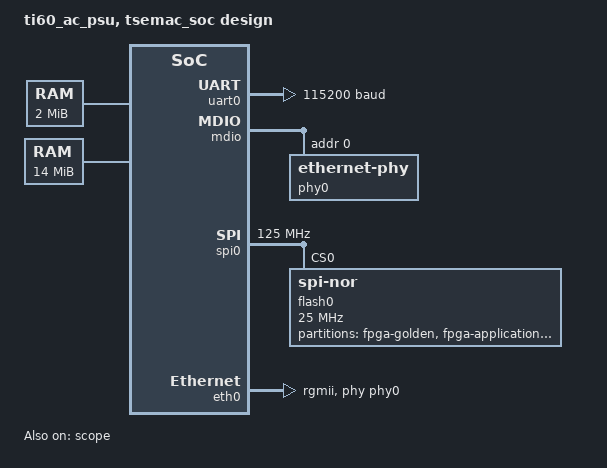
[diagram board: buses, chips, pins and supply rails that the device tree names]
/*
 * The ti60_ac_psu board (Ti60F225) running fpga/tsemac_soc: Efinix's TSEMAC
 * Linux example design ported to the board. One rv32imac hart at 200 MHz, peripherals and
 * machine timer at 125 MHz, 64 MB HyperRAM, TSEMAC behind the scatter-gather DMA on the
 * board's PEF7071 PHY, gigabit only.
 *
 * The memory and flash layouts are ti60_evm_eth's: Zephyr's image region of 2 MB at
 * 0x01000000 and RAM after it to the end of the HyperRAM; the loader (firmware/loader)
 * at flash 0x600000, which tsemac_soc's boot0 starts, boots the newest of two image slots.
 */

/dts-v1/;

#include <efinix/sapphire_soc.dtsi>

/delete-node/ &ram0;

/ {
	model = "ti60_ac_psu, tsemac_soc design";
	compatible = "efinix,ti60-psu-eth";

	chosen {
		zephyr,console = &uart0;
		zephyr,shell-uart = &uart0;
		zephyr,sram = &ram0;
		zephyr,flash = &image0;
	};

	image0: memory@1000000 {
		reg = <0x01000000 DT_SIZE_M(2)>;
	};

	/*
	 * The HyperRAM (W959D8NFYA, 64 MB) is two 32 MB dies; the controller (the FPGA's
	 * hyperram_axi) takes the address as it is: 0x01000000..0x01ffffff is the first die's
	 * upper half, 0x02000000..0x03ffffff the second die, and splits bursts at 1 KB, so none
	 * crosses between them. The image and the RAM are on the first die; the second is the
	 * scope stream's ring, but for its last 128 bytes (0x03ffff80..), where the controller
	 * writes its calibration pattern at power up. (Efinix's controller, before it, corrupted
	 * DMA transfers on the second die.)
	 */
	ram0: memory@1200000 {
		device_type = "memory";
		reg = <0x01200000 DT_SIZE_M(14)>;
	};

	stream_ram: memory@2000000 {
		reg = <0x02000000 (DT_SIZE_M(32) - 128)>;
	};
};

&{/cpus/cpu@0} {
	clock-frequency = <200000000>;
	riscv,isa-extensions = "i", "m", "a", "c", "zicsr", "zifencei";
};

&uart0 {
	status = "okay";
	current-speed = <115200>;
};

&{/soc} {
	mdio: mdio@f8100100 {
		compatible = "efinix,tsemac-mdio";
		reg = <0xf8100100 0x20>, <0xf8100200 0x20>;
		reg-names = "mdio", "ctrl";
		#address-cells = <1>;
		#size-cells = <0>;
		status = "okay";

		/* PEF7071; board_test configures it the same way (ethernet_phy_init.vhd) */
		phy0: ethernet-phy@0 {
			compatible = "ethernet-phy";
			reg = <0>;
			default-speeds = "1000BASE Full-Duplex";
			status = "okay";
		};
	};

	spi0: spi@f8014000 {
		compatible = "efinix,sapphire-spi";
		reg = <0xf8014000 0x1000>;
		clock-frequency = <125000000>;
		#address-cells = <1>;
		#size-cells = <0>;
		status = "okay";

		/* the FPGA configuration flash, W25Q64JW */
		flash0: flash@0 {
			compatible = "jedec,spi-nor";
			reg = <0>;
			spi-max-frequency = <25000000>;
			size = <DT_SIZE_M(64)>; /* bits */
			jedec-id = [ef 60 17];
			status = "okay";

			partitions {
				compatible = "fixed-partitions";
				#address-cells = <1>;
				#size-cells = <1>;

				/*
				 * FPGA images (fpga_update.h), compressed bitstreams of about
				 * 800 KB: the golden one loaded at power-up, written only over
				 * JTAG, the application one it switches to, and the state of that.
				 */
				fpga_golden_partition: partition@0 {
					label = "fpga-golden";
					reg = <0x000000 0x100000>;
					read-only;
				};

				fpga_application_partition: partition@100000 {
					label = "fpga-application";
					reg = <0x100000 0xff000>;
				};

				fpga_state_partition: partition@1ff000 {
					label = "fpga-state";
					reg = <0x1ff000 0x1000>;
				};

				/*
				 * Zephyr images, booted by the second-stage loader (loader/): the
				 * newest valid slot. Updates write the other one.
				 */
				slot0_partition: partition@200000 {
					label = "slot-0";
					reg = <0x200000 0x200000>;
				};

				slot1_partition: partition@400000 {
					label = "slot-1";
					reg = <0x400000 0x200000>;
				};

				/* copied to 0x01000000 and started by the design's bootloader */
				loader_partition: partition@600000 {
					label = "loader";
					reg = <0x600000 0x10000>;
				};

				storage_partition: partition@610000 {
					label = "storage";
					reg = <0x610000 0x1f0000>;
				};
			};
		};
	};

	/* remote_update.vhd: registers 800.. of the register bus on APB slave 3 */
	remote_update: remote-update@f8130c80 {
		compatible = "hvhdl,remote-update";
		reg = <0xf8130c80 0x10>;
	};

	/* board_test's oscilloscope: registers on APB slave 3, its DMA on APB slave 2 */
	scope: scope@f8130000 {
		compatible = "hvhdl,scope-capture";
		reg = <0xf8130000 0x10000>, <0xf8120000 0x80>;
		reg-names = "registers", "dma";
		base-address = <600>;
		status = "okay";
	};

	eth0: ethernet@f8100000 {
		compatible = "efinix,tsemac";
		reg = <0xf8100000 0x10000>, <0xf8110000 0x10000>;
		reg-names = "mac", "dma";
		interrupt-parent = <&plic0>;
		interrupts = <16 1>, <17 1>;
		local-mac-address = [02 00 00 50 53 55];
		phy-handle = <&phy0>;
		phy-connection-type = "rgmii";
		/* MIICTRL: RGMII with the PHY's receive and transmit clock skews */
		phy-register-updates = <0x17 0xffff 0xc500>;
		rx-clock-reset-on-link-up;
		/* tsemac_soc's tx_checksum_inserter */
		tx-checksum-offload;
		status = "okay";
	};
};
